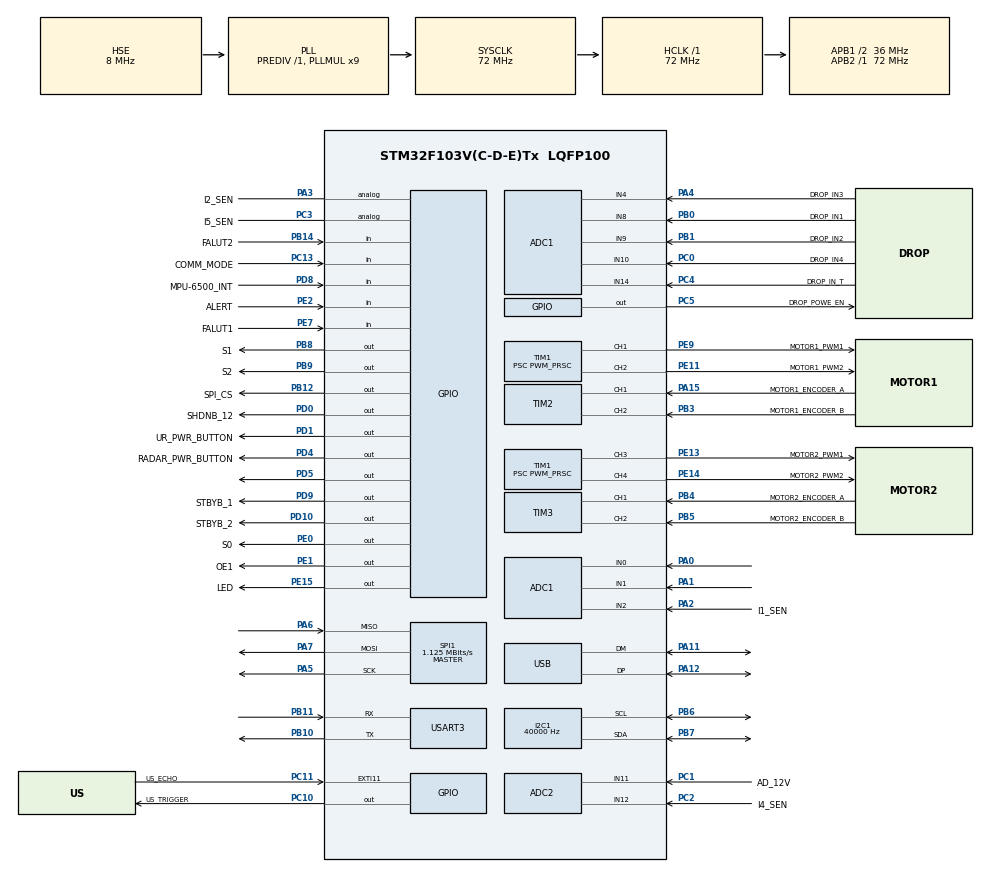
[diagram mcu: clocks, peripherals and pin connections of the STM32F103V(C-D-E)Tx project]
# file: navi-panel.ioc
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ADC1.Channel-1\#ChannelRegularConversion=ADC_CHANNEL_10
ADC1.Channel-2\#ChannelRegularConversion=ADC_CHANNEL_4
ADC1.Channel-3\#ChannelRegularConversion=ADC_CHANNEL_9
ADC1.Channel-4\#ChannelRegularConversion=ADC_CHANNEL_8
ADC1.Channel-5\#ChannelRegularConversion=ADC_CHANNEL_VREFINT
ADC1.Channel-6\#ChannelRegularConversion=ADC_CHANNEL_TEMPSENSOR
ADC1.Channel-7\#ChannelInjectedConversion=ADC_CHANNEL_2
ADC1.Channel-8\#ChannelRegularConversion=ADC_CHANNEL_0
ADC1.Channel-9\#ChannelRegularConversion=ADC_CHANNEL_1
ADC1.ContinuousConvMode=ENABLE
ADC1.DataAlign=ADC_DATAALIGN_RIGHT
ADC1.DiscontinuousConvMode=DISABLE
ADC1.EnableAnalogWatchDog=false
ADC1.EnableRegularConversion=ENABLE
ADC1.ExternalTrigConv=ADC_SOFTWARE_START
ADC1.ExternalTrigConvEdgeChoice=NONE
ADC1.ExternalTrigInjecConv=ADC_EXTERNALTRIGINJECCONV_T1_TRGO
ADC1.ExternalTrigInjecConvEdgeChoice=RISING
ADC1.InjNumberOfConversion=1
ADC1.InjectedConvMode=None
ADC1.InjectedOffset-7\#ChannelInjectedConversion=0
ADC1.NbrOfConversion=8
ADC1.NbrOfConversionFlag=1
ADC1.Rank-1\#ChannelRegularConversion=1
ADC1.Rank-2\#ChannelRegularConversion=2
ADC1.Rank-3\#ChannelRegularConversion=3
ADC1.Rank-4\#ChannelRegularConversion=4
ADC1.Rank-5\#ChannelRegularConversion=5
ADC1.Rank-6\#ChannelRegularConversion=6
ADC1.Rank-7\#ChannelInjectedConversion=1
ADC1.Rank-8\#ChannelRegularConversion=7
ADC1.Rank-9\#ChannelRegularConversion=8
ADC1.SamplingTime-1\#ChannelRegularConversion=ADC_SAMPLETIME_41CYCLES_5
ADC1.SamplingTime-2\#ChannelRegularConversion=ADC_SAMPLETIME_41CYCLES_5
ADC1.SamplingTime-3\#ChannelRegularConversion=ADC_SAMPLETIME_41CYCLES_5
ADC1.SamplingTime-4\#ChannelRegularConversion=ADC_SAMPLETIME_41CYCLES_5
ADC1.SamplingTime-5\#ChannelRegularConversion=ADC_SAMPLETIME_41CYCLES_5
ADC1.SamplingTime-6\#ChannelRegularConversion=ADC_SAMPLETIME_41CYCLES_5
ADC1.SamplingTime-7\#ChannelInjectedConversion=ADC_SAMPLETIME_7CYCLES_5
ADC1.SamplingTime-8\#ChannelRegularConversion=ADC_SAMPLETIME_41CYCLES_5
ADC1.SamplingTime-9\#ChannelRegularConversion=ADC_SAMPLETIME_41CYCLES_5
ADC1.ScanConvMode=ADC_SCAN_ENABLE
ADC1.master=1
ADC2.Channel-0\#ChannelRegularConversion=ADC_CHANNEL_11
ADC2.Channel-2\#ChannelInjectedConversion=ADC_CHANNEL_12
ADC2.ContinuousConvMode=ENABLE
ADC2.DataAlign=ADC_DATAALIGN_RIGHT
ADC2.DiscontinuousConvMode=DISABLE
ADC2.EnableAnalogWatchDog=false
ADC2.EnableRegularConversion=ENABLE
ADC2.ExternalTrigConv=ADC_SOFTWARE_START
ADC2.ExternalTrigConvEdgeChoice=NONE
ADC2.ExternalTrigInjecConv=ADC_EXTERNALTRIGINJECCONV_T1_TRGO
ADC2.ExternalTrigInjecConvEdgeChoice=RISING
ADC2.InjNumberOfConversion=1
ADC2.InjectedConvMode=None
ADC2.InjectedOffset-2\#ChannelInjectedConversion=0
ADC2.NbrOfConversion=1
ADC2.NbrOfConversionFlag=1
ADC2.Rank-0\#ChannelRegularConversion=1
ADC2.Rank-2\#ChannelInjectedConversion=1
ADC2.SamplingTime-0\#ChannelRegularConversion=ADC_SAMPLETIME_41CYCLES_5
ADC2.SamplingTime-2\#ChannelInjectedConversion=ADC_SAMPLETIME_7CYCLES_5
ADC2.ScanConvMode=ADC_SCAN_DISABLE
Dma.ADC1.1.Direction=DMA_PERIPH_TO_MEMORY
Dma.ADC1.1.Instance=DMA1_Channel1
Dma.ADC1.1.MemDataAlignment=DMA_MDATAALIGN_HALFWORD
Dma.ADC1.1.MemInc=DMA_MINC_ENABLE
Dma.ADC1.1.Mode=DMA_CIRCULAR
Dma.ADC1.1.PeriphDataAlignment=DMA_PDATAALIGN_HALFWORD
Dma.ADC1.1.PeriphInc=DMA_PINC_DISABLE
Dma.ADC1.1.Priority=DMA_PRIORITY_MEDIUM
Dma.Request0=USART3_TX
Dma.Request1=ADC1
Dma.Request2=USART3_RX
Dma.USART3_RX.2.Direction=DMA_PERIPH_TO_MEMORY
Dma.USART3_RX.2.Instance=DMA1_Channel3
Dma.USART3_RX.2.MemDataAlignment=DMA_MDATAALIGN_BYTE
Dma.USART3_RX.2.MemInc=DMA_MINC_ENABLE
Dma.USART3_RX.2.Mode=DMA_CIRCULAR
Dma.USART3_RX.2.PeriphDataAlignment=DMA_PDATAALIGN_BYTE
Dma.USART3_RX.2.PeriphInc=DMA_PINC_DISABLE
Dma.USART3_RX.2.Priority=DMA_PRIORITY_HIGH
Dma.USART3_TX.0.Direction=DMA_MEMORY_TO_PERIPH
Dma.USART3_TX.0.Instance=DMA1_Channel2
Dma.USART3_TX.0.MemDataAlignment=DMA_MDATAALIGN_BYTE
Dma.USART3_TX.0.MemInc=DMA_MINC_ENABLE
Dma.USART3_TX.0.Mode=DMA_NORMAL
Dma.USART3_TX.0.PeriphDataAlignment=DMA_PDATAALIGN_BYTE
Dma.USART3_TX.0.PeriphInc=DMA_PINC_DISABLE
Dma.USART3_TX.0.Priority=DMA_PRIORITY_HIGH
I2C1.ClockSpeed=40000
Mcu.Family=STM32F1
Mcu.Name=STM32F103V(C-D-E)Tx
Mcu.Package=LQFP100
Mcu.UserConstants=CKTIM_APB1,72000000;CKTIM_APB2,72000000;PWM_ALIGN_FACTOR,2;PWM_PRSC,0;PWM_CNT_FREQ,(CKTIM_APB2 / PWM_ALIGN_FACTOR / (PWM_PRSC + 1));PWM_FREQ,20000;PWM_PERIOD,(PWM_CNT_FREQ / PWM_FREQ - 1);ENCODER_GAP,1024;BASIC_TIM_FREQ,2000;BASIC_TIM_PRSC,71;BASIC_TIM_CNT_FREQ,(CKTIM_APB1 / (BASIC_TIM_PRSC + 1));BASIC_TIM_PERIOD,(BASIC_TIM_CNT_FREQ / BASIC_TIM_FREQ - 1)
NVIC.ADC1_2_IRQn=true\:1\:0\:true\:false\:true
NVIC.DMA1_Channel1_IRQn=true\:3\:0\:true\:false\:true
NVIC.DMA1_Channel2_IRQn=true\:3\:0\:true\:false\:true
NVIC.DMA1_Channel3_IRQn=true\:0\:0\:false\:false\:true
NVIC.EXTI15_10_IRQn=true\:0\:0\:false\:false\:true
NVIC.PriorityGroup=NVIC_PRIORITYGROUP_4
NVIC.TIM2_IRQn=true\:0\:0\:false\:false\:true
NVIC.TIM3_IRQn=true\:0\:0\:false\:false\:true
NVIC.TIM7_IRQn=true\:0\:0\:false\:false\:true
NVIC.USART3_IRQn=true\:0\:0\:false\:false\:true
NVIC.USB_LP_CAN1_RX0_IRQn=true\:0\:0\:false\:false\:true
OSC_IN.Mode=HSE-External-Oscillator
OSC_IN.Signal=RCC_OSC_IN
OSC_OUT.Mode=HSE-External-Oscillator
OSC_OUT.Signal=RCC_OSC_OUT
PA0-WKUP.Signal=ADCx_IN0
PA1.Signal=ADCx_IN1
PA11.Mode=Device
PA11.Signal=USB_DM
PA12.Mode=Device
PA12.Signal=USB_DP
PA13.Mode=Serial_Wire
PA13.Signal=SYS_JTMS-SWDIO
PA14.Mode=Serial_Wire
PA14.Signal=SYS_JTCK-SWCLK
PA15.GPIO_Label=MOTOR1_ENCODER_A
PA15.Signal=S_TIM2_CH1_ETR
PA2.GPIO_Label=I1_SEN
PA2.Signal=ADCx_IN2
PA3.GPIO_Label=I2_SEN
PA3.Signal=GPIO_Analog
PA4.GPIO_Label=DROP_IN3
PA4.Signal=ADCx_IN4
PA5.Mode=Full_Duplex_Master
PA5.Signal=SPI1_SCK
PA6.Mode=Full_Duplex_Master
PA6.Signal=SPI1_MISO
PA7.Mode=Full_Duplex_Master
PA7.Signal=SPI1_MOSI
PB0.GPIO_Label=DROP_IN1
PB0.Signal=ADCx_IN8
PB1.GPIO_Label=DROP_IN2
PB1.Signal=ADCx_IN9
PB10.Mode=Asynchronous
PB10.Signal=USART3_TX
PB11.Mode=Asynchronous
PB11.Signal=USART3_RX
PB12.GPIO_Label=SPI_CS
PB12.GPIO_Speed=GPIO_SPEED_FREQ_HIGH
PB12.PinState=GPIO_PIN_SET
PB12.Signal=GPIO_Output
PB14.GPIO_Label=FALUT2
PB14.Signal=GPIO_Input
PB3.GPIO_Label=MOTOR1_ENCODER_B
PB3.Signal=S_TIM2_CH2
PB4.GPIO_Label=MOTOR2_ENCODER_A
PB4.Signal=S_TIM3_CH1
PB5.GPIO_Label=MOTOR2_ENCODER_B
PB5.Signal=S_TIM3_CH2
PB6.Mode=I2C
PB6.Signal=I2C1_SCL
PB7.Mode=I2C
PB7.Signal=I2C1_SDA
PB8.GPIO_Label=S1
PB8.GPIO_Speed=GPIO_SPEED_FREQ_HIGH
PB8.Signal=GPIO_Output
PB9.GPIO_Label=S2
PB9.GPIO_Speed=GPIO_SPEED_FREQ_HIGH
PB9.Signal=GPIO_Output
PC0.GPIO_Label=DROP_IN4
PC0.Signal=ADCx_IN10
PC1.GPIO_Label=AD_12V
PC1.Signal=ADCx_IN11
PC10.GPIO_Label=US_TRIGGER
PC10.GPIO_Speed=GPIO_SPEED_FREQ_HIGH
PC10.Signal=GPIO_Output
PC11.GPIO_Label=US_ECHO
PC11.GPIO_ModeDefaultEXTI=GPIO_MODE_IT_RISING_FALLING
PC11.GPIO_PuPd=GPIO_PULLDOWN
PC11.Signal=GPXTI11
PC13-TAMPER-RTC.GPIO_Label=COMM_MODE
PC13-TAMPER-RTC.GPIO_PuPd=GPIO_PULLUP
PC13-TAMPER-RTC.Signal=GPIO_Input
PC2.GPIO_Label=I4_SEN
PC2.Signal=ADCx_IN12
PC3.GPIO_Label=I5_SEN
PC3.Signal=GPIO_Analog
PC4.GPIO_Label=DROP_IN_T
PC4.Signal=ADCx_IN14
PC5.GPIO_Label=DROP_POWE_EN
PC5.GPIO_Speed=GPIO_SPEED_FREQ_HIGH
PC5.Signal=GPIO_Output
PD0.GPIO_Label=SHDNB_12
PD0.GPIO_ModeDefaultOutputPP=GPIO_MODE_OUTPUT_PP
PD0.GPIO_Speed=GPIO_SPEED_FREQ_LOW
PD0.PinState=GPIO_PIN_RESET
PD0.Signal=GPIO_Output
PD1.GPIO_Label=UR_PWR_BUTTON
PD1.GPIO_Speed=GPIO_SPEED_FREQ_HIGH
PD1.Signal=GPIO_Output
PD10.GPIO_Label=STBYB_2
PD10.GPIO_ModeDefaultOutputPP=GPIO_MODE_OUTPUT_PP
PD10.GPIO_Speed=GPIO_SPEED_FREQ_LOW
PD10.Signal=GPIO_Output
PD4.GPIO_Label=RADAR_PWR_BUTTON
PD4.GPIO_Speed=GPIO_SPEED_FREQ_HIGH
PD4.Signal=GPIO_Output
PD5.Signal=GPIO_Output
PD8.GPIO_Label=MPU-6500_INT
PD8.Signal=GPIO_Input
PD9.GPIO_Label=STBYB_1
PD9.GPIO_ModeDefaultOutputPP=GPIO_MODE_OUTPUT_PP
PD9.GPIO_Speed=GPIO_SPEED_FREQ_LOW
PD9.PinState=GPIO_PIN_RESET
PD9.Signal=GPIO_Output
PE0.GPIO_Label=S0
PE0.GPIO_Speed=GPIO_SPEED_FREQ_HIGH
PE0.Signal=GPIO_Output
PE1.GPIO_Label=OE1
PE1.GPIO_Speed=GPIO_SPEED_FREQ_HIGH
PE1.PinState=GPIO_PIN_SET
PE1.Signal=GPIO_Output
PE11.GPIO_Label=MOTOR1_PWM2
PE11.Signal=S_TIM1_CH2
PE13.GPIO_Label=MOTOR2_PWM1
PE13.Signal=S_TIM1_CH3
PE14.GPIO_Label=MOTOR2_PWM2
PE14.Signal=S_TIM1_CH4
PE15.GPIO_Label=LED
PE15.GPIO_ModeDefaultOutputPP=GPIO_MODE_OUTPUT_OD
PE15.GPIO_Speed=GPIO_SPEED_FREQ_MEDIUM
PE15.PinState=GPIO_PIN_RESET
PE15.Signal=GPIO_Output
PE2.GPIO_Label=ALERT
PE2.Signal=GPIO_Input
PE7.GPIO_Label=FALUT1
PE7.Signal=GPIO_Input
PE9.GPIO_Label=MOTOR1_PWM1
PE9.Signal=S_TIM1_CH1
ProjectManager.HeapSize=0x200
ProjectManager.StackSize=0x400
ProjectManager.TargetToolchain=MDK-ARM V5
RCC.ADCPresc=RCC_ADCPCLK2_DIV6
RCC.AHBFreq_Value=72000000
RCC.APB1CLKDivider=RCC_HCLK_DIV2
RCC.APB1Freq_Value=36000000
RCC.APB1TimFreq_Value=72000000
RCC.APB2Freq_Value=72000000
RCC.APB2TimFreq_Value=72000000
RCC.HCLKFreq_Value=72000000
RCC.HSIState=RCC_HSI_ON
RCC.PLLMUL=RCC_PLL_MUL9
RCC.PLLSourceVirtual=RCC_PLLSOURCE_HSE
RCC.SYSCLKFreq_VALUE=72000000
RCC.SYSCLKSource=RCC_SYSCLKSOURCE_PLLCLK
RCC.USBFreq_Value=48000000
RCC.USBPrescaler=RCC_USBCLKSOURCE_PLL_DIV1_5
SH.ADCx_IN0.0=ADC1_IN0,IN0
SH.ADCx_IN1.0=ADC1_IN1,IN1
SH.ADCx_IN10.0=ADC1_IN10,IN10
SH.ADCx_IN11.0=ADC2_IN11,IN11
SH.ADCx_IN12.0=ADC2_IN12,IN12
SH.ADCx_IN14.0=ADC1_IN14,IN14
SH.ADCx_IN2.0=ADC1_IN2,IN2
SH.ADCx_IN4.0=ADC1_IN4,IN4
SH.ADCx_IN8.0=ADC1_IN8,IN8
SH.ADCx_IN9.0=ADC1_IN9,IN9
SH.S_TIM1_CH1.0=TIM1_CH1,PWM Generation1 CH1
SH.S_TIM1_CH2.0=TIM1_CH2,PWM Generation2 CH2
SH.S_TIM1_CH3.0=TIM1_CH3,PWM Generation3 CH3
SH.S_TIM1_CH4.0=TIM1_CH4,PWM Generation4 CH4
SH.S_TIM2_CH1_ETR.0=TIM2_CH1,Encoder_Interface
SH.S_TIM2_CH2.0=TIM2_CH2,Encoder_Interface
SH.S_TIM3_CH1.0=TIM3_CH1,Encoder_Interface
SH.S_TIM3_CH2.0=TIM3_CH2,Encoder_Interface
SPI1.BaudRatePrescaler=SPI_BAUDRATEPRESCALER_64
SPI1.CLKPhase=SPI_PHASE_2EDGE
SPI1.CLKPolarity=SPI_POLARITY_HIGH
SPI1.CalculateBaudRate=1.125 MBits/s
SPI1.Mode=SPI_MODE_MASTER
TIM1.Channel-PWM\ Generation2\ CH2=TIM_CHANNEL_2
TIM1.Channel-PWM\ Generation3\ CH3=TIM_CHANNEL_3
TIM1.Channel-PWM\ Generation4\ CH4=TIM_CHANNEL_4
TIM1.CounterMode=TIM_COUNTERMODE_CENTERALIGNED1
TIM1.Period=PWM_PERIOD
TIM1.Prescaler=PWM_PRSC
TIM1.RepetitionCounter=1
TIM1.TIM_MasterOutputTrigger=TIM_TRGO_UPDATE
TIM2.EncoderMode=TIM_ENCODERMODE_TI12
TIM2.IC1Filter=8
TIM2.IC2Filter=8
TIM2.Period=4*ENCODER_GAP-1
TIM3.EncoderMode=TIM_ENCODERMODE_TI12
TIM3.IC1Filter=8
TIM3.IC2Filter=8
TIM3.Period=4*ENCODER_GAP-1
TIM7.Period=BASIC_TIM_PERIOD
TIM7.Prescaler=BASIC_TIM_PRSC
USB.ep0_mps=DEP0CTL_MPS_64
USB_DEVICE.CLASS_NAME_FS=CDC
USB_DEVICE.USBD_HandleTypeDef=hUsbDeviceFS
USB_DEVICE.VirtualMode=Cdc
USB_DEVICE.VirtualModeFS=Cdc_FS
VP_ADC1_TempSens_Input.Mode=IN-TempSens
VP_ADC1_Vref_Input.Mode=IN-Vrefint
VP_TIM7_VS_ClockSourceINT.Mode=Enable_Timer
VP_USB_DEVICE_VS_USB_DEVICE_CDC_FS.Mode=CDC_FS
board=navi-panel

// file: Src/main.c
/**
  ******************************************************************************
  * File Name          : main.c
  * Description        : Main program body
  ******************************************************************************
  *
  * Copyright (c) 2017 STMicroelectronics International N.V.
  * All rights reserved.
  *
  * Redistribution and use in source and binary forms, with or without
  * modification, are permitted, provided that the following conditions are met:
  *
  * 1. Redistribution of source code must retain the above copyright notice,
  *    this list of conditions and the following disclaimer.
  * 2. Redistributions in binary form must reproduce the above copyright notice,
  *    this list of conditions and the following disclaimer in the documentation
  *    and/or other materials provided with the distribution.
  * 3. Neither the name of STMicroelectronics nor the names of other
  *    contributors to this software may be used to endorse or promote products
  *    derived from this software without specific written permission.
  * 4. This software, including modifications and/or derivative works of this
  *    software, must execute solely and exclusively on microcontroller or
  *    microprocessor devices manufactured by or for STMicroelectronics.
  * 5. Redistribution and use of this software other than as permitted under
  *    this license is void and will automatically terminate your rights under
  *    this license.
  *
  * THIS SOFTWARE IS PROVIDED BY STMICROELECTRONICS AND CONTRIBUTORS "AS IS"
  * AND ANY EXPRESS, IMPLIED OR STATUTORY WARRANTIES, INCLUDING, BUT NOT
  * LIMITED TO, THE IMPLIED WARRANTIES OF MERCHANTABILITY, FITNESS FOR A
  * PARTICULAR PURPOSE AND NON-INFRINGEMENT OF THIRD PARTY INTELLECTUAL PROPERTY
  * RIGHTS ARE DISCLAIMED TO THE FULLEST EXTENT PERMITTED BY LAW. IN NO EVENT
  * SHALL STMICROELECTRONICS OR CONTRIBUTORS BE LIABLE FOR ANY DIRECT, INDIRECT,
  * INCIDENTAL, SPECIAL, EXEMPLARY, OR CONSEQUENTIAL DAMAGES (INCLUDING, BUT NOT
  * LIMITED TO, PROCUREMENT OF SUBSTITUTE GOODS OR SERVICES; LOSS OF USE, DATA,
  * OR PROFITS; OR BUSINESS INTERRUPTION) HOWEVER CAUSED AND ON ANY THEORY OF
  * LIABILITY, WHETHER IN CONTRACT, STRICT LIABILITY, OR TORT (INCLUDING
  * NEGLIGENCE OR OTHERWISE) ARISING IN ANY WAY OUT OF THE USE OF THIS SOFTWARE,
  * EVEN IF ADVISED OF THE POSSIBILITY OF SUCH DAMAGE.
  *
  ******************************************************************************
  */
#include "main.h"
#include "stm32f1xx_hal.h"
#include "adc.h"
#include "dma.h"
#include "i2c.h"
#include "spi.h"
#include "tim.h"
#include "usart.h"
#include "usb_device.h"
#include "gpio.h"

/* USER CODE BEGIN Includes */
#include "tim_user.h"
#include "gpio_user.h"
#include "inv_mpu_driver.h"
#include "adc_user.h"
#include "comm_usart.h"
#include "Encoder.h"
#include "system_supervise.h"
#include "speed_loop.h"
#include "motion_control.h"
#include "sensor_update.h"
#include "Ultrasonic.h"
#include "comm.h"
#include "motor.h"
#include "global_defines.h"
#include "contact_detection.h"

/* USER CODE END Includes */

/* USER CODE BEGIN PV */
/* Private variables ---------------------------------------------------------*/

/* USER CODE END PV */

void SystemClock_Config(void);
void Error_Handler(void);

/* USER CODE BEGIN PFP */
/* Private function prototypes -----------------------------------------------*/

/* USER CODE END PFP */

/* USER CODE BEGIN 0 */
/** Drivers init
*/
void DriverInit(void)
{
    // Chassis Encoder
    MX_TIM2_Init();
    MX_TIM3_Init();
    //MX_TIM5_Init();
    __HAL_TIM_ENABLE_IT(&htim2, TIM_IT_UPDATE);
    __HAL_TIM_ENABLE_IT(&htim3, TIM_IT_UPDATE);
    //__HAL_TIM_ENABLE_IT(&htim5, TIM_IT_UPDATE);
    EncInit(0);
    EncInit(1);
    //EncInit(2);
    HAL_TIM_Encoder_Start(&htim2, TIM_CHANNEL_ALL);
    HAL_TIM_Encoder_Start(&htim3, TIM_CHANNEL_ALL);
    //HAL_TIM_Encoder_Start(&htim5, TIM_CHANNEL_ALL);

    // Basic Timer
    MX_TIM7_Init();
    __HAL_TIM_ENABLE_IT(&htim7, TIM_IT_UPDATE);
    HAL_TIM_Base_Start(&htim7);

    // Chassis PWM
    MX_TIM1_Init();
    HAL_TIM_PWM_Start(&htim1, TIM_CHANNEL_1);
    HAL_TIM_PWM_Start(&htim1, TIM_CHANNEL_2);
    HAL_TIM_PWM_Start(&htim1, TIM_CHANNEL_3);
    HAL_TIM_PWM_Start(&htim1, TIM_CHANNEL_4);

    // MPU
    MX_SPI1_Init();
    InvMPU_Driver_Init();

    // ADC
    DropPower(true);
    MX_ADC1_Init();
    MX_ADC2_Init();
    ADC_Init(&hadc1);
    HAL_ADC_Start(&hadc2);
//    __HAL_ADC_ENABLE_IT(&hadc1, ADC_IT_JEOC);
//    __HAL_ADC_ENABLE_IT(&hadc2, ADC_IT_JEOC);
//    HAL_ADCEx_InjectedStart(&hadc1);
//    HAL_ADCEx_InjectedStart(&hadc2);

//    //MX_ADC3_Init();
//    //HAL_ADC_Start(&hadc3);
//    ShuntDuoCurrentReadingCalibration_DualMode();
//    //HeadCurrentCalibration();

    // Lidar Communication
    Comm_Init();
    if(GlobalParams.commMode == COMM_UART)
    {
        MX_USART3_UART_Init();
        CommUsart_Init(GetCommUartHandle(), &huart3);
    }
    else
    {
        // USB
        MX_USB_DEVICE_Init();
    }

    // I2C Battery and Temperature
    MX_I2C1_Init();
    #if 1 // SMBus Init
    __HAL_I2C_DISABLE(&hi2c1);
    SET_BIT( hi2c1.Instance->CR1, I2C_CR1_ENARP);
    SET_BIT( hi2c1.Instance->CR1, I2C_CR1_SMBTYPE);
    SET_BIT( hi2c1.Instance->CR1, I2C_CR1_SMBUS);
    __HAL_I2C_ENABLE(&hi2c1);
    #endif
}
/* USER CODE END 0 */

int main(void)
{

  /* MCU Configuration----------------------------------------------------------*/

  /* Reset of all peripherals, Initializes the Flash interface and the Systick. */
  HAL_Init();

  /* Configure the system clock */
  SystemClock_Config();

  /* Initialize all configured peripherals */
  MX_GPIO_Init();
  MX_DMA_Init();

  /* USER CODE BEGIN 2 */
    DriverInit();
    SystemSuperviseInit();
    Ultrasonic_Init();
    Motor_Init();

    HAL_GPIO_WritePin(STBYB_1_GPIO_Port, STBYB_1_Pin, GPIO_PIN_SET);
    HAL_GPIO_WritePin(STBYB_2_GPIO_Port, STBYB_2_Pin, GPIO_PIN_SET);
  /* USER CODE END 2 */

  /* Infinite loop */
  /* USER CODE BEGIN WHILE */
    while (1)
    {
        RunFlagHandler();
        Comm_RxTask();
        MotionCtrlTask();
        SensorUpdateTask();
        SystemSuperviseTask();
        UltrsonicTrigTask();
        Comm_BoostTask();
        Comm_TxTask();
        //Contact_detection();
  /* USER CODE END WHILE */

    }

}

/** System Clock Configuration
*/
void SystemClock_Config(void)
{

  RCC_OscInitTypeDef RCC_OscInitStruct;
  RCC_ClkInitTypeDef RCC_ClkInitStruct;
  RCC_PeriphCLKInitTypeDef PeriphClkInit;

    /**Initializes the CPU, AHB and APB busses clocks
    */
  RCC_OscInitStruct.OscillatorType = RCC_OSCILLATORTYPE_HSE;
  RCC_OscInitStruct.HSEState = RCC_HSE_ON;
  RCC_OscInitStruct.HSEPredivValue = RCC_HSE_PREDIV_DIV1;
  RCC_OscInitStruct.HSIState = RCC_HSI_ON;
  RCC_OscInitStruct.PLL.PLLState = RCC_PLL_ON;
  RCC_OscInitStruct.PLL.PLLSource = RCC_PLLSOURCE_HSE;
  RCC_OscInitStruct.PLL.PLLMUL = RCC_PLL_MUL9;
  if (HAL_RCC_OscConfig(&RCC_OscInitStruct) != HAL_OK)
  {
    Error_Handler();
  }

    /**Initializes the CPU, AHB and APB busses clocks
    */
  RCC_ClkInitStruct.ClockType = RCC_CLOCKTYPE_HCLK|RCC_CLOCKTYPE_SYSCLK
                              |RCC_CLOCKTYPE_PCLK1|RCC_CLOCKTYPE_PCLK2;
  RCC_ClkInitStruct.SYSCLKSource = RCC_SYSCLKSOURCE_PLLCLK;
  RCC_ClkInitStruct.AHBCLKDivider = RCC_SYSCLK_DIV1;
  RCC_ClkInitStruct.APB1CLKDivider = RCC_HCLK_DIV2;
  RCC_ClkInitStruct.APB2CLKDivider = RCC_HCLK_DIV1;

  if (HAL_RCC_ClockConfig(&RCC_ClkInitStruct, FLASH_LATENCY_2) != HAL_OK)
  {
    Error_Handler();
  }

  PeriphClkInit.PeriphClockSelection = RCC_PERIPHCLK_ADC|RCC_PERIPHCLK_USB;
  PeriphClkInit.AdcClockSelection = RCC_ADCPCLK2_DIV6;
  PeriphClkInit.UsbClockSelection = RCC_USBCLKSOURCE_PLL_DIV1_5;
  if (HAL_RCCEx_PeriphCLKConfig(&PeriphClkInit) != HAL_OK)
  {
    Error_Handler();
  }

    /**Configure the Systick interrupt time
    */
  HAL_SYSTICK_Config(HAL_RCC_GetHCLKFreq()/1000);

    /**Configure the Systick
    */
  HAL_SYSTICK_CLKSourceConfig(SYSTICK_CLKSOURCE_HCLK);

  /* SysTick_IRQn interrupt configuration */
  HAL_NVIC_SetPriority(SysTick_IRQn, 0, 0);
}

void Error_Handler(void)
{
  while(1)
  {
  }
}

/************************ (C) COPYRIGHT STMicroelectronics *****END OF FILE****/
